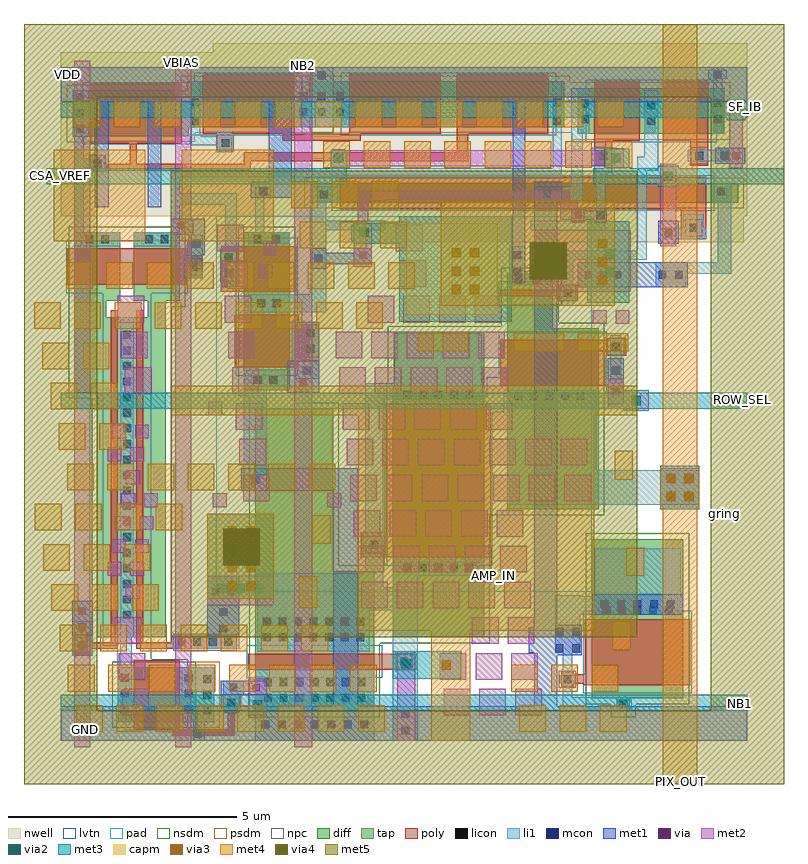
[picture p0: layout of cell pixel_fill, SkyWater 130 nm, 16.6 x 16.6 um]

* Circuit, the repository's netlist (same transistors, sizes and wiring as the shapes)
* NGSPICE file created from pixel_fill.ext - technology: sky130A

.subckt pixel_fill gring VDD GND VREF ROW_SEL NB1 VBIAS NB2 AMP_IN SF_IB PIX_OUT CSA_VREF
X0 GND GND GND GND sky130_fd_pr__nfet_01v8_lvt ad=3.5 pd=7.5 as=24.809025 ps=56.34 w=2 l=1.44
X1 a_4120_n520# VBIAS a_4120_n750# GND sky130_fd_pr__nfet_01v8_lvt ad=0.35 pd=2.7 as=1.995 ps=8.8 w=1 l=0.8
X2 a_5720_n730# a_4600_n810# GND VDD sky130_fd_pr__pfet_01v8_lvt ad=0.25 pd=1.5 as=0.35 ps=2.7 w=1 l=1
X3 a_4330_n30# a_3852_n32# a_3852_n32# VDD sky130_fd_pr__pfet_01v8_lvt ad=0.23 pd=1.65 as=0.3927 ps=2.8 w=1 l=2
X4 VDD SF_IB a_5720_n730# VDD sky130_fd_pr__pfet_01v8_lvt ad=0.35 pd=2.7 as=0.25 ps=1.5 w=1 l=1
X5 a_5460_10# a_4330_n30# VDD VDD sky130_fd_pr__pfet_01v8_lvt ad=0.175 pd=1.35 as=0.35 ps=2.7 w=1 l=2
X6 a_3852_n32# VBIAS a_3860_n1150# GND sky130_fd_pr__nfet_01v8_lvt ad=0.35 pd=2.7 as=1.76 ps=8.8 w=1 l=0.8
X7 VDD a_4120_n520# a_4600_n810# GND sky130_fd_pr__nfet_01v8_lvt ad=0.3 pd=2.6 as=0.25 ps=1.5 w=1 l=1
X8 a_4120_n750# AMP_IN a_4050_n2590# GND sky130_fd_pr__nfet_01v8_lvt ad=1.995 pd=8.8 as=1.4 ps=7.4 w=7 l=0.15
X9 GND GND GND GND sky130_fd_pr__nfet_01v8_lvt ad=3.119375 pd=7.15 as=0 ps=0 w=2 l=3.35
X10 a_4120_n520# a_3852_n32# a_5460_10# VDD sky130_fd_pr__pfet_01v8_lvt ad=0.35 pd=2.7 as=0.175 ps=1.35 w=1 l=2
X11 AMP_IN a_4600_n810# sky130_fd_pr__cap_mim_m3_1 l=2 w=2
X12 GND NB1 a_4050_n2590# GND sky130_fd_pr__nfet_01v8_lvt ad=0.42 pd=3.1 as=0.42 ps=3.1 w=1.2 l=1
X13 a_5750_n920# ROW_SEL PIX_OUT GND sky130_fd_pr__nfet_01v8_lvt ad=0.6 pd=2.95 as=5.4 ps=9.4 w=2 l=1
X14 a_4050_n2590# VREF a_3860_n1150# GND sky130_fd_pr__nfet_01v8_lvt ad=1.4 pd=7.4 as=1.76 ps=8.8 w=7 l=0.15
X15 a_4600_n810# NB2 GND GND sky130_fd_pr__nfet_01v8_lvt ad=0.25 pd=1.5 as=0.5 ps=3 w=1 l=1.15
X16 VDD a_4330_n30# a_4330_n30# VDD sky130_fd_pr__pfet_01v8_lvt ad=0.35 pd=2.7 as=0.23 ps=1.65 w=1 l=2
X17 VDD a_5720_n730# a_5750_n920# GND sky130_fd_pr__nfet_01v8_lvt ad=0.35 pd=2.7 as=0.6 ps=2.95 w=1 l=0.15
X18 AMP_IN CSA_VREF a_4600_n810# VDD sky130_fd_pr__pfet_01v8_lvt ad=0.294 pd=2.24 as=0.273 ps=2.14 w=0.42 l=8
X19 GND GND GND GND sky130_fd_pr__nfet_01v8_lvt ad=10.715 pd=15.9 as=0 ps=0 w=2.6 l=0.35
.ends

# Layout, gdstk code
import gdstk
lib = gdstk.Library(unit=1e-6, precision=1e-09)
def R(c, l, rs):  # rectangles x0, y0, x1, y1
    for r in rs: c.add(gdstk.rectangle(r[:2], r[2:], *l))
def A(c, l, x, y, w, h, nx, ny, dx, dy):  # array of equal rectangles
    R(c, l, [(x+i*dx, y+j*dy, x+i*dx+w, y+j*dy+h) for i in range(nx) for j in range(ny)])
nwell = (64, 20)
diff = (65, 20)
tap = (65, 44)
poly = (66, 20)
licon = (66, 44)
li1 = (67, 20)
mcon = (67, 44)
met1 = (68, 20)
via = (68, 44)
met2 = (69, 20)
via2 = (69, 44)
met3 = (70, 20)
via3 = (70, 44)
met4 = (71, 20)
via4 = (71, 44)
met5 = (72, 20)
pad = (76, 20)
capm = (89, 44)
nsdm = (93, 44)
psdm = (94, 20)
npc = (95, 20)
lvtn = (125, 44)

pixel_fill = lib.new_cell('pixel_fill')
R(pixel_fill, nwell, [(24.44,-2.47,33.92,-1.9), (19,-1.9,34,1.68), (22.32,1.68,34,1.88)])
R(pixel_fill, diff, [(20.25,-12.95,21.95,-11.75), (23.25,-12.72,25.85,-9.65), (31.145,-12.715,31.435,-12.43), (30.6,-12.43,32.6,-8.95), (19.8,-11.1,21.3,-5.75), (26.25,-11.1,28.25,-5.65), (23.25,-9.65,24.95,-6.1), (28.75,-8.3,30.75,-4.35), (19.3,-5.75,21.3,-4.1), (23,-5.7,24,-2.25), (26.275,-5.65,28.25,-4.425), (28.75,-4.35,29.75,-3.15), (19.3,-4.1,20,-3.75), (20.9,-4.1,21.3,-3.75), (19.3,-3.75,20.3,-2.25), (20.6,-3.75,21.6,-2.25), (24.45,-1.6,33.8,-1.18), (19.26,-0.16,19.53,-0.15), (19.26,-0.15,21.8,0.05), (30.3,-0.1,33.5,0.9), (19.26,0.05,24.45,0.85), (24.95,0.05,30,1.05), (21.75,0.85,24.45,1.05)])
R(pixel_fill, tap, [(21.95,-12.95,22.35,-11.75), (24.45,0.05,24.95,1.05)])
R(pixel_fill, poly, [(21.45,-13.25,22.8,-13.1), (20.6,-13.1,21.6,-11.6), (22.65,-13.1,22.8,-12.75), (22.55,-12.75,22.9,-12.7), (22.5,-12.7,22.95,-12.35), (29.935,-12.175,30.205,-12.115), (30.44,-12.14,32.75,-12.115), (29.935,-12.115,32.75,-11.905), (29.935,-11.905,30.205,-11.845), (30.44,-11.905,32.75,-11.9), (30.45,-11.9,32.75,-10.7), (23.1,-11.8,26.8,-11.45), (19.25,-11.5,19.7,-11.35), (19.25,-11.35,20.25,-11.2), (20.65,-11.35,22.85,-11.2), (19.25,-11.2,19.7,-11.05), (20.1,-11.2,20.25,-3.95), (20.65,-11.2,20.8,-3.95), (21.4,-11.2,22.85,-11.05), (25.55,-9.35,28.4,-8.8), (26.1,-8.8,28.4,-6), (28.6,-5.6,30.9,-4.95), (22.8,-5.2,24.2,-5.05), (22.8,-5.05,24.65,-4.2), (28.6,-4.95,31.35,-4.6), (30.95,-4.6,31.35,-4.55), (22.8,-4.2,24.2,-4.05), (29.85,-3.75,30.3,-3.65), (28.6,-3.65,30.3,-3.5), (22.5,-3.55,24.15,-2.55), (29.85,-3.5,30.3,-3.4), (19.15,-3.4,21.75,-3.25), (19.15,-3.25,22.1,-2.75), (19.15,-2.75,21.75,-2.6), (32.55,-2.4,33.1,-1.75), (25.1,-1.75,33.1,-1.04), (19.65,-0.92,19.98,-0.9), (19.65,-0.9,23.15,-0.75), (30.65,-0.8,31.05,-0.25), (32.75,-0.8,33.15,-0.25), (19.65,-0.75,19.98,-0.56), (20.515,-0.75,20.665,-0.3), (23,-0.75,23.15,-0.7), (23,-0.7,27.9,-0.5), (22.4,-0.5,22.75,-0.1), (27.65,-0.5,27.9,-0.1), (19.65,-0.3,21.65,1), (23.85,-0.25,25.55,-0.1), (30.65,-0.25,31.65,1.05), (32.15,-0.25,33.15,1.05), (22.1,-0.1,24.1,1.2), (25.3,-0.1,27.3,1.2), (27.65,-0.1,29.65,1.2)])
A(pixel_fill, licon, 22.115, -12.775, 0.17, 0.17, 1, 3, 0, 0.34)
A(pixel_fill, licon, 20.315, -12.75, 0.17, 0.17, 1, 3, 0, 0.34)
A(pixel_fill, licon, 21.715, -12.75, 0.17, 0.17, 1, 3, 0, 0.34)
A(pixel_fill, licon, 23.445, -12.505, 0.17, 0.17, 7, 2, 0.34, 0.34)
A(pixel_fill, licon, 21.555, -11.285, 0.17, 0.17, 4, 1, 0.34, 0)
A(pixel_fill, licon, 23.42, -11.18, 0.17, 0.17, 7, 2, 0.34, 0.34)
A(pixel_fill, licon, 20.365, -10.695, 0.17, 0.17, 1, 19, 0, 0.34)
A(pixel_fill, licon, 30.835, -10.585, 0.17, 0.17, 5, 1, 0.34, 0)
A(pixel_fill, licon, 26.485, -9.66, 0.17, 0.17, 5, 2, 0.34, 3.775)
A(pixel_fill, licon, 28.91, -5.91, 0.17, 0.17, 5, 1, 0.34, 0)
A(pixel_fill, licon, 19.34, -0.07, 0.17, 0.17, 1, 3, 0, 0.34)
A(pixel_fill, licon, 24.215, 0.295, 0.17, 0.17, 3, 2, 0.4, 0.34)
R(pixel_fill, licon, [(31.205,-12.635,31.375,-12.465), (22.64,-12.61,22.81,-12.44), (29.985,-12.095,30.155,-11.925), (26.415,-11.71,26.585,-11.54), (19.39,-11.36,19.56,-11.19), (25.765,-9.16,25.935,-8.99), (23.22,-5.56,23.39,-5.39), (23.56,-5.56,23.73,-5.39), (24.365,-4.88,24.535,-4.71), (31.04,-4.835,31.21,-4.665), (24.365,-4.54,24.535,-4.37), (23.295,-3.885,23.465,-3.715), (23.635,-3.885,23.805,-3.715), (29.99,-3.66,30.16,-3.49), (28.915,-3.385,29.085,-3.215), (29.315,-3.385,29.485,-3.215), (22.59,-3.23,22.76,-3.06), (21.815,-3.085,21.985,-2.915), (22.59,-2.89,22.76,-2.72), (19.545,-2.485,19.715,-2.315), (19.885,-2.485,20.055,-2.315), (20.845,-2.485,21.015,-2.315), (21.185,-2.485,21.355,-2.315), (23.215,-2.475,23.385,-2.305), (23.615,-2.475,23.785,-2.305), (32.74,-2.235,32.91,-2.065), (24.665,-1.51,24.835,-1.34), (33.34,-1.445,33.51,-1.275), (19.715,-0.825,19.885,-0.655), (30.765,-0.66,30.935,-0.49), (32.865,-0.66,33.035,-0.49), (22.515,-0.385,22.685,-0.215), (31.815,0.095,31.985,0.265), (21.85,0.1,22.02,0.27), (29.75,0.1,29.92,0.27), (30.38,0.135,30.55,0.305), (33.265,0.145,33.435,0.315), (31.815,0.435,31.985,0.605), (30.38,0.475,30.55,0.645), (33.265,0.485,33.435,0.655), (21.85,0.5,22.02,0.67), (29.75,0.5,29.92,0.67)])
R(pixel_fill, li1, [(21.9,-13.35,22.15,-12.95), (23.25,-13.35,25.85,-11.8), (26.25,-13.35,26.8,-10.5), (20.25,-12.95,20.55,-11.75), (21.65,-12.95,22.35,-11.75), (22.55,-12.75,22.9,-12.35), (29.975,-12.695,31.435,-12.655), (29.975,-12.655,31.475,-12.615), (29.965,-12.615,31.475,-12.445), (29.965,-12.445,31.435,-12.405), (29.965,-12.405,30.175,-12.095), (22.55,-12.35,23,-12.05), (29.905,-12.095,30.235,-11.925), (29.965,-11.925,30.175,-11.43), (20.3,-11.75,20.55,-11.1), (19.25,-11.5,19.7,-10.75), (29.8,-11.43,30.35,-10.6), (23.3,-11.4,25.75,-10.5), (21.45,-11.35,22.9,-11.05), (20.3,-11.1,20.6,-4.1), (22.2,-11.05,22.9,-10.4), (29.8,-10.6,32.6,-10.2), (23.3,-10.5,26.8,-10), (29.8,-10.2,30.35,-10.175), (30.65,-10.2,32.55,-9.15), (23.3,-10,26.05,-9.7), (26.25,-10,26.8,-9.75), (26.25,-9.75,28.25,-9.45), (25.65,-9.7,26.05,-9.35), (25.6,-9.35,26.1,-8.8), (25.65,-8.8,26.05,-5.9), (28.75,-8.2,32.95,-7.45), (23,-7.9,23.5,-5.7), (28.75,-7.45,30.7,-5.7), (25.65,-5.9,28.25,-5.55), (23,-5.7,23.9,-5.25), (26.3,-5.55,28.2,-4.45), (31,-5.55,31.25,-4.5), (24.1,-5.45,24.65,-5.05), (24.05,-5.05,24.65,-4.2), (23.1,-4,24.8,-3.95), (23,-3.95,24.8,-3.65), (29.95,-3.85,30.2,-3.75), (29.9,-3.75,30.25,-3.4), (23.1,-3.65,24.8,-3.6), (24.45,-3.6,24.8,-2.2), (22.5,-3.45,22.85,-2.55), (32,-3.45,32.65,-3.15), (28.8,-3.4,29.7,-3.1), (29.95,-3.4,30.2,-2.85), (21.7,-3.25,22.1,-2.75), (32,-3.15,33.65,-2.9), (28.8,-3.1,29.15,-2.55), (33.35,-2.9,33.65,-1.55), (29.95,-2.85,31.8,-2.65), (21.85,-2.75,22.1,-2.3), (31.6,-2.65,31.8,-0.9), (19.3,-2.55,20.3,-2.25), (20.6,-2.55,21.6,-2.25), (22.6,-2.55,22.85,-1.65), (23.1,-2.5,24,-2.25), (32.15,-2.4,33.1,-2.15), (19.3,-2.25,19.5,-0.84), (21.4,-2.25,21.6,-1.65), (23.25,-2.25,23.45,-1.45), (24.45,-2.2,26.09,-2), (29.27,-2.2,30.9,-2), (32.6,-2.15,33.05,-1.85), (24.45,-2,24.8,-1.6), (25.89,-2,26.09,-1.99), (30.7,-2,30.9,-0.95), (21.4,-1.65,22.85,-1.4), (24.45,-1.6,25.05,-1.25), (29.35,-1.6,30.4,-1.25), (33.2,-1.55,33.65,-1.18), (23.25,-1.45,23.6,-1.25), (21.4,-1.4,21.6,-1.05), (30.15,-1.25,30.4,-0.1), (21.4,-1.05,29.95,-0.85), (30.65,-0.95,31.05,-0.8), (19.69,-0.92,19.98,-0.84), (31.6,-0.9,32.05,-0.6), (29.75,-0.85,29.95,1.05), (19.3,-0.84,19.98,-0.64), (30.6,-0.8,31.1,-0.4), (32.7,-0.7,33.6,-0.45), (19.3,-0.64,19.5,-0.16), (19.69,-0.64,19.98,-0.56), (31.75,-0.6,32.05,0.85), (22.4,-0.5,22.75,-0.35), (21.85,-0.35,22.75,-0.15), (19.26,-0.16,19.6,-0.15), (19.26,-0.15,19.61,0.85), (21.85,-0.15,22.05,1.05), (22.4,-0.15,22.75,-0.05), (30.15,-0.1,30.55,0.9), (33.25,-0.1,33.45,1.1), (24.1,0.05,25.3,1.05), (24.45,1.05,24.95,1.35), (33.15,1.1,33.55,1.3), (33.25,1.3,33.45,1.35)])
A(pixel_fill, mcon, 23.385, -13.085, 0.17, 0.17, 7, 1, 0.36, 0)
A(pixel_fill, mcon, 30.795, -10.46, 0.17, 0.17, 5, 1, 0.36, 0)
R(pixel_fill, mcon, [(21.915,-13.285,22.085,-13.115), (26.44,-13.215,26.61,-13.045), (26.44,-12.855,26.61,-12.685), (22.69,-12.285,22.86,-12.115), (29.81,-11.42,29.98,-11.25), (30.17,-11.42,30.34,-11.25), (29.81,-11.06,29.98,-10.89), (30.17,-11.06,30.34,-10.89), (22.465,-10.99,22.635,-10.82), (19.39,-10.96,19.56,-10.79), (22.465,-10.63,22.635,-10.46), (32.26,-8.09,32.43,-7.92), (32.62,-8.09,32.79,-7.92), (23.165,-7.735,23.335,-7.565), (32.26,-7.73,32.43,-7.56), (32.62,-7.73,32.79,-7.56), (24.29,-5.36,24.46,-5.19), (31.04,-5.36,31.21,-5.19), (32.06,-3.26,32.23,-3.09), (32.42,-3.26,32.59,-3.09), (28.89,-3.19,29.06,-3.02), (24.54,-2.91,24.71,-2.74), (28.89,-2.83,29.06,-2.66), (21.89,-2.585,22.06,-2.415), (32.19,-2.36,32.36,-2.19), (30.715,-1.965,30.885,-1.795), (29.54,-1.485,29.71,-1.315), (23.34,-1.435,23.51,-1.265), (33.415,-0.66,33.585,-0.49), (24.615,1.09,24.785,1.26), (33.265,1.115,33.435,1.285)])
R(pixel_fill, met1, [(19,-13.35,34,-12.6), (24.95,-12.6,25.5,-7.9), (29.35,-12.6,29.85,-11.49), (22.5,-12.35,23.5,-12.05), (29.35,-11.49,30.38,-11.43), (29.225,-11.43,30.38,-10.88), (22.2,-11.1,22.9,-9.75), (19.25,-11.05,19.7,-10.3), (29.35,-10.88,30.38,-10.82), (29.35,-10.82,29.85,-1.6), (30.6,-10.6,32.6,-10.15), (32.1,-8.2,32.95,-7.45), (22.95,-7.9,25.5,-7.4), (30.95,-6,31.3,-5), (23.95,-5.75,24.65,-5.05), (30.3,-3.45,32.7,-2.9), (28.86,-3.35,29.15,-1.89), (21.85,-3.05,22.1,-2.75), (24.45,-3.05,24.8,-2.95), (24.45,-2.95,25.8,-2.7), (21.8,-2.75,22.15,-2.3), (24.45,-2.7,24.8,-2.6), (25.4,-2.7,25.8,-2.6), (32.05,-2.5,32.5,-2), (21.4,-2.3,22.15,-1.95), (30.67,-2.04,30.93,-1.98), (30.15,-2.01,30.47,-1.98), (30.15,-1.98,30.93,-1.78), (28.87,-1.89,29.15,0.6), (30.15,-1.78,30.47,-1.75), (30.67,-1.78,30.93,-1.72), (19.75,-1.7,20.05,0.6), (20.9,-1.7,21.2,0.6), (29.35,-1.6,29.95,-1.15), (23.15,-1.5,24.05,-1.15), (23.55,-1.15,24.05,0.6), (33.3,-0.75,33.95,-0.4), (19,0.6,34,1.35)])
A(pixel_fill, via, 30.455, -3.25, 0.15, 0.15, 3, 1, 0.32, 0)
R(pixel_fill, via, [(26.475,-13.2,26.625,-13.05), (23.2,-12.275,23.35,-12.125), (19.4,-10.6,19.55,-10.45), (22.315,-10.175,22.465,-10.025), (22.635,-10.175,22.785,-10.025), (32.29,-8.06,32.44,-7.91), (32.61,-8.06,32.76,-7.91), (32.29,-7.74,32.44,-7.59), (32.61,-7.74,32.76,-7.59), (31.05,-5.8,31.2,-5.65), (24.225,-5.625,24.375,-5.475), (25.525,-2.825,25.675,-2.675), (32.2,-2.325,32.35,-2.175), (21.55,-2.175,21.7,-2.025), (30.235,-1.955,30.385,-1.805), (33.675,-0.65,33.825,-0.5)])
A(pixel_fill, met2, 27.365, -12.8, 0.58, 0.58, 3, 1, 0.78, 0)
A(pixel_fill, met2, 27.285, -12.02, 0.58, 0.58, 3, 1, 0.78, 0)
A(pixel_fill, met2, 25.565, -10.46, 0.58, 0.58, 5, 1, 0.78, 0)
A(pixel_fill, met2, 25.485, -9.68, 0.58, 0.58, 5, 1, 0.78, 0)
A(pixel_fill, met2, 25.405, -8.9, 0.58, 0.58, 5, 1, 0.78, 0)
A(pixel_fill, met2, 25.325, -8.12, 0.58, 0.58, 7, 1, 0.78, 0)
A(pixel_fill, met2, 25.245, -7.34, 0.58, 0.58, 7, 1, 0.78, 0)
A(pixel_fill, met2, 25.165, -6.56, 0.58, 0.58, 5, 1, 0.78, 0)
A(pixel_fill, met2, 20.405, -5.78, 0.58, 0.58, 3, 1, 2.34, 0)
A(pixel_fill, met2, 25.865, -5.78, 0.58, 0.58, 4, 1, 0.78, 0)
A(pixel_fill, met2, 20.325, -5, 0.58, 0.58, 3, 1, 2.34, 0)
A(pixel_fill, met2, 25.785, -5, 0.58, 0.58, 4, 1, 0.78, 0)
A(pixel_fill, met2, 25.705, -4.22, 0.58, 0.58, 4, 1, 0.78, 0)
R(pixel_fill, met2, [(19.3,-13.5,19.65,1.5), (21.5,-13.5,21.85,-2.3), (24.1,-13.5,24.5,1.5), (26.35,-13.35,26.75,-11.4), (23.1,-12.85,23.5,-12), (20.345,-12.8,20.925,-12.22), (20.265,-12.02,20.845,-11.44), (20.185,-11.24,20.765,-10.66), (27.985,-11.24,28.565,-10.66), (28.765,-11.24,29.345,-10.66), (22.2,-10.4,23.65,-9.75), (20.425,-10.25,20.725,-9.95), (20.025,-9.75,20.325,-9.45), (20.525,-9.75,20.825,-9.45), (20.125,-9.25,20.425,-8.95), (20.625,-9.25,20.925,-8.95), (20.225,-8.75,20.525,-8.45), (20.725,-8.75,21.025,-8.45), (20.325,-8.25,20.625,-7.95), (20.825,-8.25,21.125,-7.95), (22.325,-8.25,22.625,-7.95), (24.825,-8.25,25.125,-7.95), (32.1,-8.25,32.95,-7.4), (22.985,-8.12,23.565,-7.54), (20.425,-7.75,20.725,-7.45), (22.905,-7.34,23.485,-6.76), (20.025,-7.25,20.325,-6.95), (20.525,-7.25,20.825,-6.95), (20.125,-6.75,20.425,-6.45), (20.625,-6.75,20.925,-6.45), (22.825,-6.56,23.405,-5.98), (22.225,-6.25,22.525,-5.95), (30.95,-6.1,31.85,-5.75), (30.95,-5.75,31.3,-5.45), (30.625,-4.25,30.925,-3.95), (31.125,-4.25,31.425,-3.95), (20.245,-4.22,20.825,-3.64), (22.585,-4.22,23.165,-3.64), (29.35,-3.55,31.45,-2.2), (22.505,-3.44,23.085,-2.86), (26.405,-3.44,26.985,-2.86), (23.325,-3.25,23.625,-2.95), (25.4,-3,25.8,-2), (23.425,-2.75,23.725,-2.45), (22.425,-2.66,23.005,-2.08), (26.325,-2.66,26.905,-2.08), (32.1,-2.55,32.45,-0.75), (21.4,-2.3,21.9,-1.95), (30.18,-2.04,30.44,-1.98), (25.485,-2,25.715,-1.575), (29.91,-1.98,30.44,-1.72), (21.5,-1.95,21.85,1.5), (29.91,-1.72,30.29,-1.58), (29.91,-1.58,30.11,-1.54), (25.485,-1.575,26.095,-1.54), (25.485,-1.54,30.11,-1.345), (25.89,-1.345,30.11,-1.34), (30.955,-0.85,31.305,-0.805), (33.6,-0.85,33.9,0.65), (24.92,-0.825,25.22,-0.805), (24.895,-0.805,31.305,-0.455), (24.92,-0.455,25.22,-0.435), (30.955,-0.455,31.305,-0.41)])
A(pixel_fill, via2, 22.425, -10.125, 0.2, 0.2, 3, 1, 0.4, 0)
R(pixel_fill, via2, [(23.2,-12.675,23.4,-12.475), (26.45,-11.775,26.65,-11.575), (32.225,-8.125,32.425,-7.925), (32.625,-8.125,32.825,-7.925), (32.225,-7.725,32.425,-7.525), (32.625,-7.725,32.825,-7.525), (31.475,-6.025,31.675,-5.825), (30.9,-3.225,31.1,-3.025), (30.9,-2.825,31.1,-2.625), (25.525,-2.35,25.725,-2.15), (32.175,-1.125,32.375,-0.925), (24.97,-0.73,25.17,-0.53), (31.03,-0.73,31.23,-0.53), (33.65,0.35,33.85,0.55)])
R(pixel_fill, met3, [(23.1,-12.8,23.5,-12.7), (19,-12.7,34,-12.35), (26.25,-12,27.75,-11.4), (22.2,-10.25,23.65,-8.4), (32.1,-8.3,32.95,-7.35), (31.3,-6.15,31.85,-6.1), (19,-6.1,34,-5.75), (31.3,-5.75,31.85,-5.7), (26.4,-4.2,28.85,-2.5), (30.5,-3.79,31.42,-2.01), (25.4,-2.5,28.85,-2.45), (25.35,-2.45,28.85,-2.1), (25.4,-2.1,28.85,-2.05), (26.4,-2.05,28.85,-1.9), (32.05,-1.25,32.5,-1.2), (18.7,-1.2,25.245,-0.85), (30.63,-1.2,34.8,-0.85), (24.895,-0.85,25.245,-0.455), (30.87,-0.85,31.42,-0.43), (32.05,-0.85,32.5,-0.8), (33.55,0.2,33.95,0.25), (19,0.25,34,0.6), (33.55,0.6,33.95,0.65)])
A(pixel_fill, via3, 22.65, -10.075, 0.2, 0.2, 1, 4, 0, 0.4)
A(pixel_fill, via3, 23.05, -10.075, 0.2, 0.2, 1, 4, 0, 0.4)
A(pixel_fill, via3, 27.54, -3.6, 0.2, 0.2, 1, 3, 0, 0.4)
A(pixel_fill, via3, 27.94, -3.6, 0.2, 0.2, 1, 3, 0, 0.4)
A(pixel_fill, via3, 30.735, -3.4, 0.2, 0.2, 1, 3, 0, 0.4)
R(pixel_fill, via3, [(27.325,-11.8,27.525,-11.6), (32.225,-8.125,32.425,-7.925), (32.625,-8.125,32.825,-7.925), (32.225,-7.725,32.425,-7.525), (32.625,-7.725,32.825,-7.525)])
A(pixel_fill, met4, 19.34, -13.16, 0.58, 0.58, 8, 1, 0.88, 0)
A(pixel_fill, met4, 29.02, -13.16, 0.58, 0.58, 3, 1, 0.88, 0)
A(pixel_fill, met4, 19.16, -12.28, 0.58, 0.58, 8, 1, 0.88, 0)
A(pixel_fill, met4, 28.84, -12.28, 0.58, 0.58, 3, 1, 0.88, 0)
A(pixel_fill, met4, 18.98, -11.4, 0.58, 0.58, 7, 1, 0.88, 0)
A(pixel_fill, met4, 18.8, -10.52, 0.58, 0.58, 3, 1, 0.88, 0)
A(pixel_fill, met4, 18.62, -9.64, 0.58, 0.58, 3, 1, 0.88, 0)
A(pixel_fill, met4, 18.44, -8.76, 0.58, 0.58, 4, 1, 0.88, 0)
A(pixel_fill, met4, 19.14, -7.88, 0.58, 0.58, 7, 1, 0.88, 0)
A(pixel_fill, met4, 18.42, -4.36, 0.58, 0.58, 9, 1, 0.88, 0)
A(pixel_fill, met4, 19.12, -3.48, 0.58, 0.58, 9, 1, 0.88, 0)
A(pixel_fill, met4, 24.22, -2.6, 0.58, 0.58, 3, 1, 0.88, 0)
A(pixel_fill, met4, 24.04, -1.72, 0.58, 0.58, 3, 1, 0.88, 0)
A(pixel_fill, met4, 24.74, -0.84, 0.58, 0.58, 8, 1, 0.88, 0)
A(pixel_fill, met4, 19.28, 0.04, 0.58, 0.58, 14, 1, 0.88, 0)
R(pixel_fill, met4, [(32.15,-14.3,32.9,-8.25), (27.1,-13.35,27.95,-10.95), (31.05,-11.38,31.45,-10.75), (25.5,-10.95,30.65,-6.25), (24.2,-10.45,24.6,-9.76), (22.2,-10.25,23.65,-8.4), (31.35,-9.75,31.75,-9.14), (24.5,-9.05,24.9,-8.43), (32.1,-8.25,32.95,-7.4), (31.1,-7.65,31.5,-7.02), (32.15,-7.4,32.9,2.3), (18.96,-7,19.54,-6.42), (19.84,-7,20.42,-6.42), (21.4,-6.25,31.6,-5.6), (18.78,-6.12,19.36,-5.54), (19.66,-6.12,20.24,-5.54), (18.6,-5.24,19.18,-4.66), (19.48,-5.24,20.06,-4.66), (26.8,-4.85,27.9,-4.45), (28.9,-4.85,30,-4.45), (30.3,-4.85,31.4,-4.45), (27.3,-3.85,31.1,-1.55), (18.85,-2.45,20.85,-0.45), (21.65,-2.45,23.65,-0.45)])
R(pixel_fill, via4, [(22.55,-9.525,23.35,-8.725), (29.25,-3.275,30.05,-2.475)])
R(pixel_fill, met5, [(18.2,-14.3,34.8,-12.7), (18.2,-12.7,19.8,0.7), (33.2,-12.7,34.8,0.7), (21.4,-11.1,31.6,-0.9), (18.2,0.7,34.8,2.3)])
R(pixel_fill, pad, [(22.4,-10.1,30.6,-1.9)])
R(pixel_fill, capm, [(26.55,-4.05,28.55,-2.05)])
R(pixel_fill, nsdm, [(20.125,-13.075,21.95,-11.625), (23.125,-12.845,25.975,-11.225), (31.02,-12.84,31.56,-12.555), (30.475,-12.555,32.725,-8.825), (19.675,-11.225,21.425,-5.875), (23.125,-11.225,28.375,-9.525), (23.125,-9.525,25.075,-5.975), (26.125,-9.525,28.375,-8.425), (26.125,-8.425,30.875,-5.525), (23.125,-5.975,24.125,-5.825), (19.175,-5.875,21.425,-3.875), (22.875,-5.825,24.125,-2.125), (26.15,-5.525,30.875,-4.3), (28.625,-4.3,30.875,-4.225), (28.625,-4.225,29.875,-3.025), (19.175,-3.875,21.725,-2.125), (24.45,-0.075,24.95,1.175)])
R(pixel_fill, psdm, [(21.95,-13.075,22.475,-11.625), (24.325,-1.725,33.925,-1.055), (19.135,-0.285,19.655,-0.275), (19.135,-0.275,21.925,-0.075), (30.175,-0.225,33.625,-0.075), (19.135,-0.075,24.45,0.975), (24.95,-0.075,33.625,1.025), (21.625,0.975,24.45,1.175), (24.95,1.025,30.125,1.175)])
R(pixel_fill, npc, [(22.54,-12.71,22.91,-12.34), (29.885,-12.195,30.255,-11.825), (26.315,-11.81,26.685,-11.44), (19.29,-11.46,19.66,-11.09), (21.455,-11.385,22.845,-11.015), (25.665,-9.26,26.035,-8.89), (24.265,-4.98,24.635,-4.27), (30.94,-4.935,31.31,-4.565), (29.89,-3.76,30.26,-3.39), (22.49,-3.33,22.86,-2.62), (21.715,-3.185,22.085,-2.815), (32.64,-2.335,33.01,-1.965), (19.615,-0.925,19.985,-0.555), (30.665,-0.76,31.035,-0.39), (32.765,-0.76,33.135,-0.39), (22.415,-0.485,22.785,-0.115)])
R(pixel_fill, lvtn, [(20.42,-13.13,21.78,-11.9), (30.42,-12.32,32.78,-10.52), (23.07,-11.98,26.03,-11.27), (20.235,-11.9,21.78,-11.57), (20.235,-11.57,20.98,-11.28), (19.92,-11.28,20.98,-3.58), (26.07,-9.53,28.43,-6.185), (26.07,-6.185,28.69,-5.82), (28.31,-5.82,28.69,-5.78), (28.31,-5.78,30.93,-5.415), (28.57,-5.415,30.93,-4.42), (22.82,-5.38,24.18,-2.37), (28.57,-3.83,29.93,-3.32), (19.12,-3.58,21.78,-2.42), (24.92,-1.78,33.28,-1), (19.47,-0.33,21.83,-0.13), (30.47,-0.28,33.33,1.08), (19.47,-0.13,24.28,1.03), (25.12,-0.13,29.83,1.23), (21.92,1.03,24.28,1.23)])
pixel_fill.add(gdstk.Label('gring', (33.5,-8.4), layer=72, texttype=5))
pixel_fill.add(gdstk.Label('VDD', (19.15,1.2), layer=68, texttype=5))
pixel_fill.add(gdstk.Label('GND', (19.55,-13.1), layer=68, texttype=5))
pixel_fill.add(gdstk.Label('VREF', (19.35,1.45), layer=69, texttype=5))
pixel_fill.add(gdstk.Label('ROW_SEL', (33.9,-5.9), layer=70, texttype=5))
pixel_fill.add(gdstk.Label('NB1', (33.85,-12.55), layer=70, texttype=5))
pixel_fill.add(gdstk.Label('VBIAS', (21.65,1.45), layer=69, texttype=5))
pixel_fill.add(gdstk.Label('NB2', (24.3,1.4), layer=69, texttype=5))
pixel_fill.add(gdstk.Label('AMP_IN', (28.45,-9.75), layer=72, texttype=5))
pixel_fill.add(gdstk.Label('SF_IB', (33.95,0.5), layer=70, texttype=5))
pixel_fill.add(gdstk.Label('PIX_OUT', (32.55,-14.25), layer=71, texttype=5))
pixel_fill.add(gdstk.Label('CSA_VREF', (19,-1), layer=70, texttype=5))

lib.write_gds('pixel_fill.gds')
